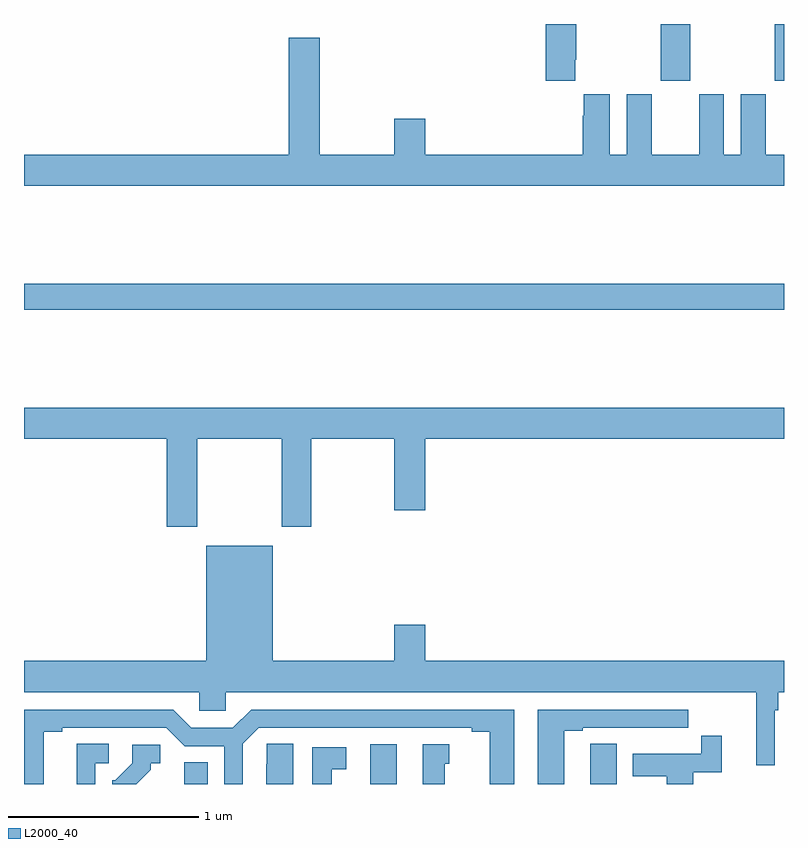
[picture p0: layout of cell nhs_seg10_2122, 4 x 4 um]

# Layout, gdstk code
import gdstk
lib = gdstk.Library(unit=1e-6, precision=1e-09)
def R(c, l, rs):  # rectangles x0, y0, x1, y1
    for r in rs: c.add(gdstk.rectangle(r[:2], r[2:], *l))
def P(c, l, *ps):  # polygons
    for p in ps: c.add(gdstk.Polygon(p, *l))
L2000_40 = (2000, 40)

nhs_seg10_2122 = lib.new_cell('nhs_seg10_2122')
R(nhs_seg10_2122, L2000_40, [(223.844,1298.5,223.966,1298.615), (224.822,1298.5,224.962,1298.71), (223,1300.996,227,1301.132), (226.351,1302.201,226.506,1302.5), (226.951,1302.201,227,1302.5)])
P(nhs_seg10_2122, L2000_40, [(225.901,1302.313),(225.906,1302.313),(225.906,1302.5),(225.746,1302.5),(225.746,1302.201),(225.901,1302.201)],
  [(227,1301.812),(226.903,1301.812),(226.903,1302.13),(226.772,1302.13),(226.772,1301.812),(226.684,1301.812),(226.684,1302.13),(226.553,1302.13),(226.553,1301.812),(226.303,1301.812),(226.303,1302.13),(226.172,1302.13),(226.172,1301.812),(226.084,1301.812),(226.084,1302.13),(225.947,1302.13),(225.947,1302.017),(225.941,1302.017),(225.941,1301.812),(225.112,1301.812),(225.112,1302.001),(224.948,1302.001),(224.948,1301.812),(224.557,1301.812),(224.557,1302.427),(224.393,1302.427),(224.393,1301.812),(223,1301.812),(223,1301.648),(227,1301.648)],
  [(223.911,1300.316),(224.356,1300.316),(224.356,1299.855),(224.511,1299.855),(224.511,1300.316),(224.948,1300.316),(224.948,1299.942),(225.112,1299.942),(225.112,1300.316),(227,1300.316),(227,1300.48),(223,1300.48),(223,1300.316),(223.751,1300.316),(223.751,1299.855),(223.911,1299.855)],
  [(226.95,1298.888),(226.97,1298.888),(226.97,1298.984),(227,1298.984),(227,1299.148),(225.112,1299.148),(225.112,1299.337),(224.948,1299.337),(224.948,1299.148),(224.308,1299.148),(224.308,1299.754),(223.958,1299.754),(223.958,1299.148),(223,1299.148),(223,1298.984),(223.923,1298.984),(223.923,1298.886),(224.061,1298.886),(224.061,1298.984),(226.853,1298.984),(226.853,1298.598),(226.95,1298.598)],
  [(223.105,1298.776),(223.201,1298.776),(223.201,1298.796),(223.749,1298.796),(223.845,1298.7),(224.055,1298.7),(224.055,1298.5),(224.151,1298.5),(224.151,1298.712),(224.235,1298.796),(225.356,1298.796),(225.356,1298.776),(225.452,1298.776),(225.452,1298.5),(225.58,1298.5),(225.58,1298.892),(224.195,1298.892),(224.099,1298.796),(223.881,1298.796),(223.785,1298.892),(223,1298.892),(223,1298.5),(223.105,1298.5)],
  [(225.844,1298.781),(225.94,1298.781),(225.94,1298.796),(226.216,1298.796),(226.216,1298.795),(226.382,1298.795),(226.382,1298.796),(226.495,1298.796),(226.495,1298.892),(225.704,1298.892),(225.704,1298.5),(225.844,1298.5)],
  [(226.522,1298.562),(226.673,1298.562),(226.673,1298.755),(226.564,1298.755),(226.564,1298.658),(226.205,1298.658),(226.205,1298.542),(226.382,1298.542),(226.382,1298.5),(226.522,1298.5)],
  [(226.12,1298.711),(225.981,1298.711),(225.981,1298.603),(225.98,1298.603),(225.98,1298.5),(226.12,1298.5)],
  [(224.416,1298.711),(224.277,1298.711),(224.277,1298.603),(224.276,1298.603),(224.276,1298.5),(224.416,1298.5)],
  [(223.374,1298.61),(223.447,1298.61),(223.447,1298.711),(223.277,1298.711),(223.277,1298.5),(223.374,1298.5)],
  [(225.214,1298.607),(225.238,1298.607),(225.238,1298.71),(225.098,1298.71),(225.098,1298.5),(225.214,1298.5)],
  [(223.666,1298.575),(223.666,1298.61),(223.717,1298.61),(223.717,1298.706),(223.569,1298.706),(223.569,1298.61),(223.479,1298.52),(223.464,1298.52),(223.464,1298.5),(223.591,1298.5)],
  [(224.62,1298.578),(224.695,1298.578),(224.695,1298.694),(224.516,1298.694),(224.516,1298.5),(224.62,1298.5)])

lib.write_gds('nhs_seg10_2122.gds')
